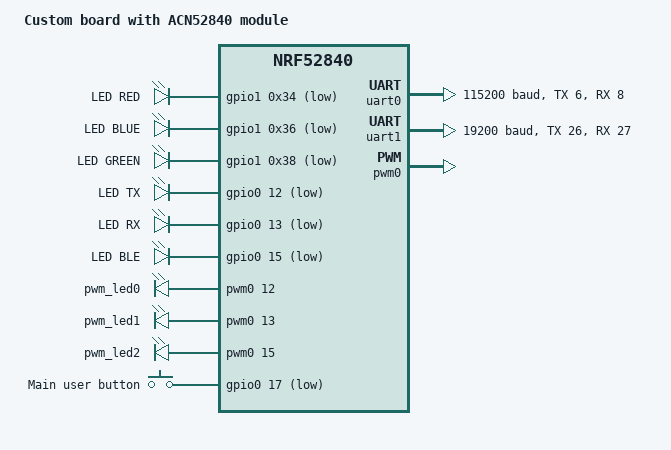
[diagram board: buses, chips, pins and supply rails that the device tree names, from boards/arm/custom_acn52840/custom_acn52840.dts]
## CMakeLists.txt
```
cmake_minimum_required(VERSION 3.13.1)

set(BOARD_ROOT ${CMAKE_CURRENT_SOURCE_DIR}/.)

if(NOT DEFINED BOARD)
    set(BOARD "nrf52840dk_nrf52840")
endif()

if(NOT DEFINED DTC_OVERLAY_FILE)
    if("${BOARD}" STREQUAL "nrf52840dk_nrf52840")
        set(DTC_OVERLAY_FILE "overlays/nrf52840dk_nrf52840.overlay")
    elseif("${BOARD}" STREQUAL "acn52840")
        set(DTC_OVERLAY_FILE "overlays/acn52840.overlay")
    endif()
endif()

include($ENV{ZEPHYR_BASE}/cmake/app/boilerplate.cmake NO_POLICY_SCOPE)
project(nrf52840-ble-getting-started)

FILE(GLOB_RECURSE app_sources src/*.c*)
target_sources(app PRIVATE ${app_sources} src/main.c)
```

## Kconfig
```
mainmenu "xiaomi"


rsource "./src/uart_ipc/Kconfig"
rsource "./src/io/Kconfig"

config XIAOMI_MAX_DEVICES
	int "Maximum XIAOMI devices supported"
	default 13
	help
		Maximum XIAOMI devices supported.

config ACTIVE_SCAN_DURATION
	int "Active scan duration (in seconds)"
	default 30
	help
		Active scan duration (in seconds)

config PASSIVE_SCAN_DURATION
	int "Passive scan minimum required duration (in seconds)"
	default 3570
	help
		Passive scan minimum required duration (in seconds)

config DATAFRAME_MIN_INTERVAL
	int "Dataframe sent minimum interval (in seconds)"
	default 15
	help
		"Dataframe sent minimum interval (in seconds)"

source "Kconfig.zephyr"
```

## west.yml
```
# Copyright (c) 2021 Nordic Semiconductor ASA
# SPDX-License-Identifier: Apache-2.0

manifest:
  self:
    path: zephyr-nrf52840_ble_dev

  remotes:
    - name: zephyrproject-rtos
      url-base: https://github.com/zephyrproject-rtos

  projects:
    - name: zephyr
      remote: zephyrproject-rtos
      revision: v2.7.2
      import: true
```

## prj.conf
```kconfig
# CONFIG_PRINTK=y
CONFIG_LOG=y

# Immediate logging on most backend is not supported
# with the software-based Link Layer since it introduces ISR latency
# due to outputting log messages with interrupts disabled.
# CONFIG_LOG_MODE_IMMEDIATE=y

CONFIG_LOG_PROCESS_THREAD_STACK_SIZE=1024
CONFIG_LOG_STRDUP_BUF_COUNT=32

CONFIG_MAIN_STACK_SIZE=2048

CONFIG_THREAD_NAME=y
CONFIG_INIT_STACKS=y
CONFIG_THREAD_STACK_INFO=y
CONFIG_MPU_STACK_GUARD=y
CONFIG_STACK_SENTINEL=y

###############################################################################

CONFIG_SERIAL=y
CONFIG_UART_ASYNC_API=y

###############################################################################

CONFIG_BT=y
# CONFIG_BT_OBSERVER=y
CONFIG_BT_DEBUG_LOG=y
CONFIG_BT_DEVICE_NAME_DYNAMIC=y

# CONFIG_BT_LOG_LEVEL_DBG=y
CONFIG_BT_LOG_LEVEL_INF=y

CONFIG_BT_CENTRAL=y
CONFIG_BT_GATT_CLIENT=y
CONFIG_BT_MAX_CONN=6

CONFIG_BT_RX_STACK_SIZE=2048

CONFIG_BT_CREATE_CONN_TIMEOUT=10

CONFIG_CBPRINTF_FP_SUPPORT=y

###############################################################################

# Poll measurements every 5 minutes (active scan every 30 minutes)
#   Passive scan minimum duration = 1 min
CONFIG_XIAOMI_MAX_DEVICES=13
CONFIG_ACTIVE_SCAN_DURATION=30
CONFIG_PASSIVE_SCAN_DURATION=3570
CONFIG_DATAFRAME_MIN_INTERVAL=5

###############################################################################

CONFIG_UART_IPC_FULL=y
CONFIG_UART_IPC_DEBUG_GPIO_NRF=n
CONFIG_UART_IPC_PING=y
CONFIG_UART_IPC_PING_PERIOD=1000
CONFIG_UART_IPC_STATS=n
CONFIG_UART_IPC_EVENT_API=y
CONFIG_UART_IPC_FRAME_BUFFER_COUNT=3

###############################################################################

CONFIG_GPIO=y
CONFIG_COUNTER=y
CONFIG_PWM=y
CONFIG_PWM_LOG_LEVEL_DBG=n
```

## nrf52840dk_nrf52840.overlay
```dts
/ {
    aliases {
        ipc-uart = &uart1;
    };
};

// https://docs.zephyrproject.org/3.0.0/reference/devicetree/bindings/serial/nordic%2Cnrf-uart.html
// https://docs.zephyrproject.org/3.0.0/reference/devicetree/bindings/serial/nordic%2Cnrf-uarte.html
&uart1 {
    status = "okay";
    current-speed = < 1000000 >; // set to 1000000 (0xf4240) or 115200 (0x1c200)
    parity = "none";
    // hw-flow-control;
};
```

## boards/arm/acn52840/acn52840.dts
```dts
/dts-v1/;
#include <nordic/nrf52840_qiaa.dtsi>

/ {
	model = "Custom board with ACN52840 module";
	compatible = "nordic,nrf52840-dk-nrf52840";

	chosen {
		zephyr,console = &uart0;
		zephyr,shell-uart = &uart0;
		zephyr,uart-mcumgr = &uart0;
		zephyr,bt-mon-uart = &uart0;
		zephyr,bt-c2h-uart = &uart0;
		zephyr,sram = &sram0;
		zephyr,flash = &flash0;
		zephyr,code-partition = &slot0_partition;
	};

	leds {
		compatible = "gpio-leds";

		/* embedded RGB led */
		led_red {
			gpios = <&gpio1 0x2 GPIO_ACTIVE_LOW>;
			label = "LED RED";
		};
		led_blue {
			gpios = <&gpio1 0x4 GPIO_ACTIVE_LOW>;
			label = "LED BLUE";
		};
		led_green {
			gpios = <&gpio1 0x6 GPIO_ACTIVE_LOW>;
			label = "LED GREEN";
		};
	};
};

&pwm1 {
	status = "disabled";
};

&pwm2 {
	status = "disabled";
};

&pwm3 {
	status = "disabled";
};

&flash0 {
	partitions {
		compatible = "fixed-partitions";
		#address-cells = <1>;
		#size-cells = <1>;

		boot_partition: partition@0 {
			label = "mcuboot";
			reg = <0x000000000 0x0000C000>;
		};
		slot0_partition: partition@c000 {
			label = "image-0";
			reg = <0x0000C000 0x00067000>;
		};
		slot1_partition: partition@73000 {
			label = "image-1";
			reg = <0x00073000 0x00067000>;
		};
		scratch_partition: partition@da000 {
			label = "image-scratch";
			reg = <0x000da000 0x0001e000>;
		};

		/*
		 * The flash starting at 0x000f8000 and ending at
		 * 0x000fffff is reserved for use by the application.
		 */

		/*
		 * Storage partition will be used by FCB/LittleFS/NVS
		 * if enabled.
		 */
		storage_partition: partition@f8000 {
			label = "storage";
			reg = <0x000f8000 0x00008000>;
		};
	};
};
```

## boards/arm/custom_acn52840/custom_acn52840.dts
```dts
/dts-v1/;
#include <nordic/nrf52840_qiaa.dtsi>

/ {
	model = "Custom board with ACN52840 module";
	compatible = "nordic,nrf52840-dk-nrf52840";

	chosen {
		zephyr,console = &uart0;
		zephyr,shell-uart = &uart0;
		zephyr,uart-mcumgr = &uart0;
		zephyr,bt-mon-uart = &uart0;
		zephyr,bt-c2h-uart = &uart0;
		zephyr,sram = &sram0;
		zephyr,flash = &flash0;
		zephyr,code-partition = &slot0_partition;
	};

	leds {
		compatible = "gpio-leds";

		/* embedded RGB led */
		led_red {
			gpios = <&gpio1 0x34 GPIO_ACTIVE_LOW>;
			label = "LED RED";
		};
		led_blue {
			gpios = <&gpio1 0x36 GPIO_ACTIVE_LOW>;
			label = "LED BLUE";
		};
		led_green {
			gpios = <&gpio1 0x38 GPIO_ACTIVE_LOW>;
			label = "LED GREEN";
		};

		led0 {
			gpios = <&gpio0 12 GPIO_ACTIVE_LOW>;
			label = "LED TX";
		};
		led1 {
			gpios = <&gpio0 13 GPIO_ACTIVE_LOW>;
			label = "LED RX";
		};
		led2 {
			gpios = <&gpio0 15 GPIO_ACTIVE_LOW>;
			label = "LED BLE";
		};
	};

	pwmleds {
		compatible = "pwm-leds";

		pwm_led0: pwm_led_tx {
			pwms = <&pwm0 12>;
		};
		pwm_led1: pwm_led_rx {
			pwms = <&pwm0 13>;
		};
		pwm_led2: pwm_led_ble {
			pwms = <&pwm0 15>;
		};
	};

	buttons {
		compatible = "gpio-keys";
		button0: button {
			gpios = <&gpio0 17 (GPIO_PULL_UP | GPIO_ACTIVE_LOW)>;
			label = "Main user button";
		};
	};

	aliases {
		ipc-uart = &uart1;

		ble-led = &pwm_led2;
		ipc-rx-led = &pwm_led1;
		ipc-tx-led = &pwm_led0;
		user-button = &button0;

		counter = &timer3;

		/* if prefer rtc2 */
		counter-alt = &rtc2;
	};
};

/* debug uart: default config */
&uart0 {
	compatible = "nordic,nrf-uarte";
	status = "okay";
	current-speed = <115200>;
	tx-pin = <6>;
	rx-pin = <8>;
	rx-pull-up;
	// rts-pin = <5>;
	// cts-pin = <7>;
	// cts-pull-up;
};

/* ipc uart */
&uart1 {
	compatible = "nordic,nrf-uarte";
	status = "okay";

	/* 1200, 2400, 4800, 9600, 14400, 19200, 28800, 31250, 38400, 56000, 57600, 76800, 115200, 230400, 250000, 460800, 921600, 1000000 */
	current-speed = <19200>;
	rx-pin = <27>;
	rx-pull-up;
	tx-pin = <26>;
	parity = "none";
};

&pwm0 {
	status = "okay";

	ch0-pin = <12>;
	ch0-inverted;

	ch1-pin = <13>;
	ch1-inverted;

	ch2-pin = <15>;
	ch2-inverted;
};

&pwm1 {
	status = "disabled";
};

&pwm2 {
	status = "disabled";
};

&pwm3 {
	status = "disabled";
};

&flash0 {
	partitions {
		compatible = "fixed-partitions";
		#address-cells = <1>;
		#size-cells = <1>;

		boot_partition: partition@0 {
			label = "mcuboot";
			reg = <0x000000000 0x0000C000>;
		};
		slot0_partition: partition@c000 {
			label = "image-0";
			reg = <0x0000C000 0x00067000>;
		};
		slot1_partition: partition@73000 {
			label = "image-1";
			reg = <0x00073000 0x00067000>;
		};
		scratch_partition: partition@da000 {
			label = "image-scratch";
			reg = <0x000da000 0x0001e000>;
		};

		/*
		 * The flash starting at 0x000f8000 and ending at
		 * 0x000fffff is reserved for use by the application.
		 */

		/*
		 * Storage partition will be used by FCB/LittleFS/NVS
		 * if enabled.
		 */
		storage_partition: partition@f8000 {
			label = "storage";
			reg = <0x000f8000 0x00008000>;
		};
	};
};
```

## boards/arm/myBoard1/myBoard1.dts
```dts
// This line informs about device tree version
/dts-v1/; 
// The next two files are SoC support headers.
#include <st/l4/stm32l432Xc.dtsi>
#include <st/l4/stm32l432k(b-c)ux-pinctrl.dtsi>

/ {
    model = "Self made board";
    compatible = "st,stm32l432kc-nucleo";

    chosen {
        zephyr,console = &usart2;
        zephyr,shell-uart = &usart2;
        zephyr,sram = &sram0;
        zephyr,flash = &flash0;
        zephyr,can-primary = &can1;
    };

    leds {
        compatible = "gpio-leds";
        green_led: led_0 {
            gpios = <&gpiob 3 GPIO_ACTIVE_HIGH>;
            label = "User LD3";
        };
    };

    buttons {
        compatible = "gpio-keys";
        button1: button_1 {
            gpios = <&gpiob 13 (GPIO_PULL_DOWN | GPIO_ACTIVE_HIGH)>;
            label = "Button 1";
        };
    };

    aliases {
        led0 = &green_led;
        button1 = &button1;
    };
};
```

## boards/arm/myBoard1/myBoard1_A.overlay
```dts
&uart1 {
    current-speed = <9600>;
};
```

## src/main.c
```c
/*
 * Copyright (c) 2016 Intel Corporation
 * Copyright (c) 2020 Nordic Semiconductor ASA
 *
 * SPDX-License-Identifier: Apache-2.0
 */

/**
 * @file Sample app to demonstrate PWM.
 */

#include <zephyr.h>
#include "io/io.h"

#include "uart_ipc/ipc_frame.h"
#include "uart_ipc/ipc.h"

#include "ble/collector.h"
#include "ble/xiaomi_record.h"

#include "utils/utils.h"

#include <logging/log.h>
LOG_MODULE_REGISTER(app, LOG_LEVEL_DBG);

/**
 * @brief Semaphore to trigger data
 */
K_SEM_DEFINE(ipc_sem, 0U, 1U);

static void df_build_dev_iterate_cb(xiaomi_context_t *dev, void *user_data)
{
	xiaomi_dataframe_t *const df = (xiaomi_dataframe_t *)user_data;
	xiaomi_record_t *const rec = &df->records[df->count];

	/* copy addr into record */
	bt_addr_le_copy(&rec->addr, &dev->addr);
	char addr_str[BT_ADDR_STR_LEN];
	bt_addr_to_str(&rec->addr.a, addr_str, sizeof(addr_str));

	/* copy measurement time */
	rec->time = dev->last_measurement;

	if (dev->ready.meas == 1U || dev->ready.rssi) {
		memcpy(&rec->measurements,
		       &dev->measurements,
		       sizeof(xiaomi_measurements_t));
	}

	LOG_DBG("%s (%s) rssi: %d temp: %hd hum: %hu bat: %hu mv %%: %hhu",
		log_strdup(addr_str), log_strdup(dev->name),
		(int)rec->measurements.rssi,
		rec->measurements.temperature, rec->measurements.humidity,
		rec->measurements.battery_mv, rec->measurements.battery_level);

	/* clear measurement validity */
	dev->ready.rssi = 0U;
	dev->ready.name = 0U;
	dev->ready.meas = 0U;

	df->count++;
}

static int clear_data_frame(xiaomi_dataframe_t *dataframe)
{
	if (dataframe == NULL) {
		return -EINVAL;
	}

	memset(dataframe, 0, sizeof(xiaomi_dataframe_t));

	return 0;
}

static int send_data_frame(void)
{
	int ret;
	ipc_frame_t *frame;

	/* initialize frame */
	ret = ipc_allocate_frame(&frame);
	if (ret != 0) {
		LOG_ERR("Failed to allocate frame (ret %d)", ret);
		goto exit;
	}

	xiaomi_dataframe_t *dataframe = (xiaomi_dataframe_t *)frame->data.buf;
	clear_data_frame(dataframe);

	/* build dataframe */
	iterate_devices(XIAOMI_FILTER_MEAS_OR_RSSI, df_build_dev_iterate_cb, dataframe);

	/* finalize frame */
	dataframe->time = get_uptime_sec();
	frame->data.size = sizeof(xiaomi_dataframe_t);

	LOG_DBG("count = %u, frame_time = %u",
		dataframe->count, dataframe->time);

	/* send frame */
	ret = ipc_send_frame(frame);
	if (ret != 0) {
		LOG_ERR("Failed to send frame (ret %d)", ret);
		goto exit;
	}

	ret = 0U;

exit:
	return ret;
}

void ipc_event_cb(ipc_event_t ev, void *user_data)
{
	switch(ev) {
		case IPC_LL_FRAME_RECEIVED:
			io_led_sig(IO_LED_IPC_RX, 100U, 100U);
			break;
		case IPC_LL_FRAME_SENT:
			io_led_sig(IO_LED_IPC_TX, 100U, 100U);
			break;
		default:
			break;
	};
}

int main(void)
{
	io_init();
	
	uint32_t last_time = (uint32_t)-1;

	ipc_register_event_callback(ipc_event_cb, NULL);

	for (;;) {
		if (k_sem_take(&ipc_sem, K_FOREVER) == 0) {
			const uint32_t now = get_uptime_sec();

			if (now - last_time > CONFIG_DATAFRAME_MIN_INTERVAL) {
				last_time = now;
				send_data_frame();
			}
		}
	}
}
```

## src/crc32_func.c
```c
#include "./utils/crc32_ieee.h"

uint32_t crc_calculate32(uint32_t *buf, size_t len)
{
	return crc32_ieee_u32(buf, len);
}
```
